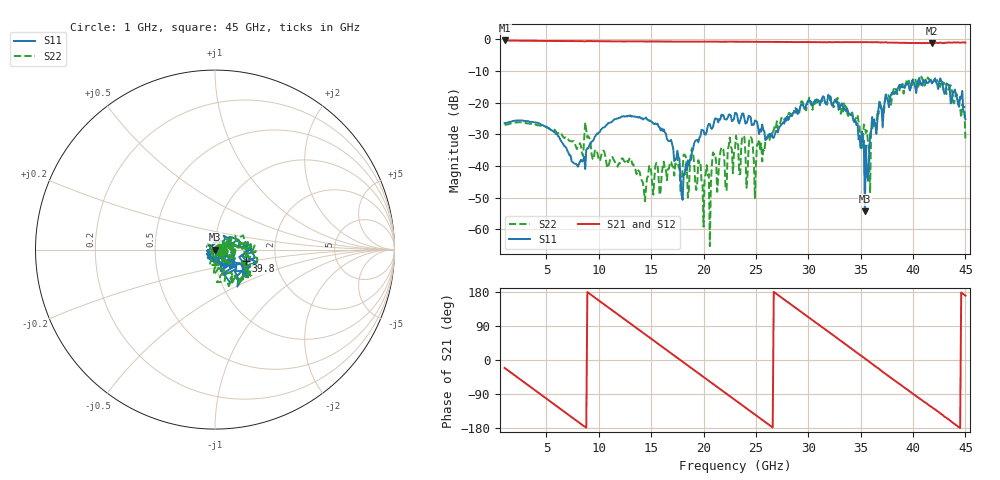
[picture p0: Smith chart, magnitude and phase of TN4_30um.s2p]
!Keysight Technologies,N5247B,MY61255062,A.19.80.06
!Date: Monday, May 18, 2026 12:49:34
!Correction: S11(Cdelta 2-Port  )
!S21(Cdelta 2-Port  )
!S12(Cdelta 2-Port  )
!S22(Cdelta 2-Port  )
!S2P File: Measurements: S11, S21, S12, S22:
# Hz S  dB  R 50
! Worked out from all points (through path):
!   441 points, 1 GHz to 45 GHz, reference 50 ohm
!   highest |S21| = -0.41 dB at 1 GHz (marker M1); lowest = -1.3 dB at 41.8 GHz (marker M2)
!   group delay of S21, straight-line fit = 56.1 ps
!   lowest |S11| = -54.3 dB at 35.4 GHz (marker M3), VSWR 1.00, Z = 50.2 + j0.0391 ohm
!   |S11| at or under -10 dB: start of sweep to end of sweep
!   |S22| runs from -65.3 to -11.8 dB; largest |S21 - S12| = 0.015
!   S11 on the Smith chart (normalised r, x): 1 GHz: 1.10, -0.02; 39.8 GHz: 1.40, -0.19; 45 GHz: 1.10, -0.05
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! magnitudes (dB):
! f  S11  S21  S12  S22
! 1 GHz  -26.5  -0.4  -0.4  -26.9
! 8.4 GHz  -38.6  -0.6  -0.6  -36.1
! 11.7 GHz  -25.0  -0.7  -0.7  -39.8
! 15.7 GHz  -27.6  -0.7  -0.7  -43.5
! 18 GHz  -50.7  -0.8  -0.8  -40.6
! 18.9 GHz  -35.2  -0.8  -0.8  -34.3
! 20.6 GHz  -26.8  -0.8  -0.8  -65.3
! 21 GHz  -26.2  -0.8  -0.8  -36.4
! 23 GHz  -23.3  -0.8  -0.8  -34.5
! 24.5 GHz  -24.6  -0.8  -0.8  -30.9
! 24.9 GHz  -25.6  -0.8  -0.8  -50.1
! 26.1 GHz  -30.6  -0.8  -0.8  -31.0
! 30.4 GHz  -20.6  -1.0  -0.9  -22.3
! 33.9 GHz  -23.6  -1.0  -1.0  -22.9
! 35.4 GHz  -54.3  -1.0  -1.0  -27.7
! 35.6 GHz  -42.4  -0.9  -0.9  -28.9
! 35.9 GHz  -30.0  -1.0  -1.0  -48.6
! 37.7 GHz  -21.4  -1.1  -1.1  -18.0
! 39.8 GHz  -14.7  -1.2  -1.2  -15.1
! 41.8 GHz  -14.0  -1.3  -1.2  -13.0
! 43.6 GHz  -20.3  -1.1  -1.0  -14.5
! 45 GHz  -25.3  -1.1  -1.1  -31.3
